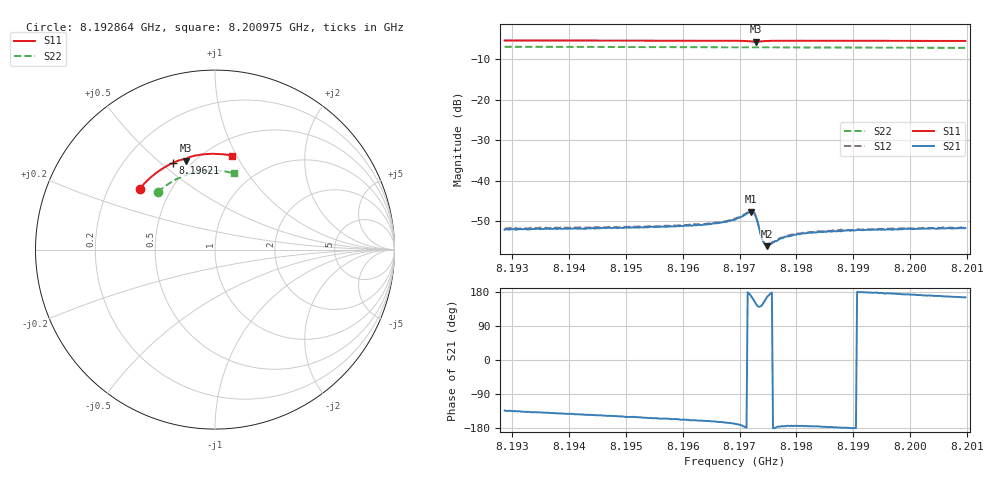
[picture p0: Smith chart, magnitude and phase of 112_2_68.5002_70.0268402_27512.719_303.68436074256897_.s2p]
#  HZ  S  RI  R  50.00
! Rohde & Schwarz Vector Network Analyzer
! Rohde-Schwarz,ZNB20-2Port,1311601062101988,3.16
! Created: UTC 3/20/2024, 4:53:36 PM
! freq[Hz]  re:S11  im:S11  re:S21  im:S21  re:S12  im:S12  re:S22  im:S22
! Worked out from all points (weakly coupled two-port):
!   401 points, 8.192864 GHz to 8.200975 GHz, reference 50 ohm
!   highest |S21| = -47.66 dB at 8.197203 GHz (marker M1); lowest = -56.2 dB at 8.197487 GHz (marker M2)
!   lowest |S11| = -5.7 dB at 8.197284 GHz (marker M3), VSWR 3.17, Z = 22.9 + j31.1 ohm
!   |S11| at or under -10 dB: nowhere
!   |S22| runs from -7.2 to -6.9 dB; largest |S21 - S12| = 0.00023
!   S11 on the Smith chart (normalised r, x): 8.192864 GHz: 0.33, +0.32; 8.19621 GHz: 0.41, +0.55; 8.200975 GHz: 0.65, +0.95
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8.1928642e9  -0.4188 0.34  -0.0017 -0.0018  -0.00181 -0.00184  -0.3181 0.3195
8.1942227e9  -0.3515 0.4081  -0.00207 -0.0015  -0.00219 -0.00149  -0.2591 0.3665
8.1955812e9  -0.2729 0.463  -0.00244 -0.00115  -0.00252 -0.0011  -0.1928 0.4032
8.1962098e9  -0.2332 0.4836  -0.00263 -0.00102  -0.00277 -0.000943  -0.16 0.4161
8.1966559e9  -0.203 0.4962  -0.0029 -0.00086  -0.00298 -0.000765  -0.1362 0.4237
8.1969195e9  -0.1836 0.5023  -0.00323 -0.000676  -0.00337 -0.000565  -0.1219 0.4278
8.1971628e9  -0.1627 0.5025  -0.00405 0.000269  -0.00405 0.000457  -0.1084 0.4307
8.1972034e9  -0.1597 0.5004  -0.00406 0.000808  -0.00406 0.00101  -0.1063 0.4311
8.1972439e9  -0.1585 0.4973  -0.00381 0.0014  -0.0038 0.00163  -0.1041 0.4315
8.1972845e9  -0.16 0.4955  -0.0031 0.00187  -0.00309 0.00203  -0.1019 0.432
8.1973047e9  -0.1611 0.4955  -0.00268 0.0019  -0.00264 0.00206  -0.101 0.4322
8.1974061e9  -0.1616 0.5033  -0.00153 0.000974  -0.00152 0.00105  -0.0956 0.4334
8.1974467e9  -0.1592 0.5063  -0.00151 0.00064  -0.00149 0.000678  -0.0933 0.4339
8.1974872e9  -0.1562 0.5088  -0.00152 0.000349  -0.00158 0.000433  -0.091 0.4342
8.1975278e9  -0.153 0.5106  -0.00163 0.000188  -0.00166 0.000246  -0.0887 0.4347
8.1977103e9  -0.1392 0.5164  -0.00191 -0.000142  -0.00195 -5.29e-05  -0.0785 0.4364
8.1978117e9  -0.1315 0.5187  -0.00203 -0.000188  -0.00206 -0.000133  -0.0729 0.4373
8.1979941e9  -0.1182 0.5218  -0.00213 -0.000241  -0.0022 -0.000131  -0.0627 0.4385
8.198278e9  -0.0979 0.5261  -0.00227 -0.000196  -0.00233 -0.000122  -0.0466 0.44
8.1988863e9  -0.0548 0.5317  -0.00243 -5.9e-05  -0.00246 5.62e-05  -0.0123 0.4413
8.1996365e9  -0.00144 0.5338  -0.0025 0.000184  -0.00254 0.000331  0.0301 0.4389
8.2009748e9  0.0928 0.524  -0.00252 0.000662  -0.00252 0.000758  0.1047 0.4248
